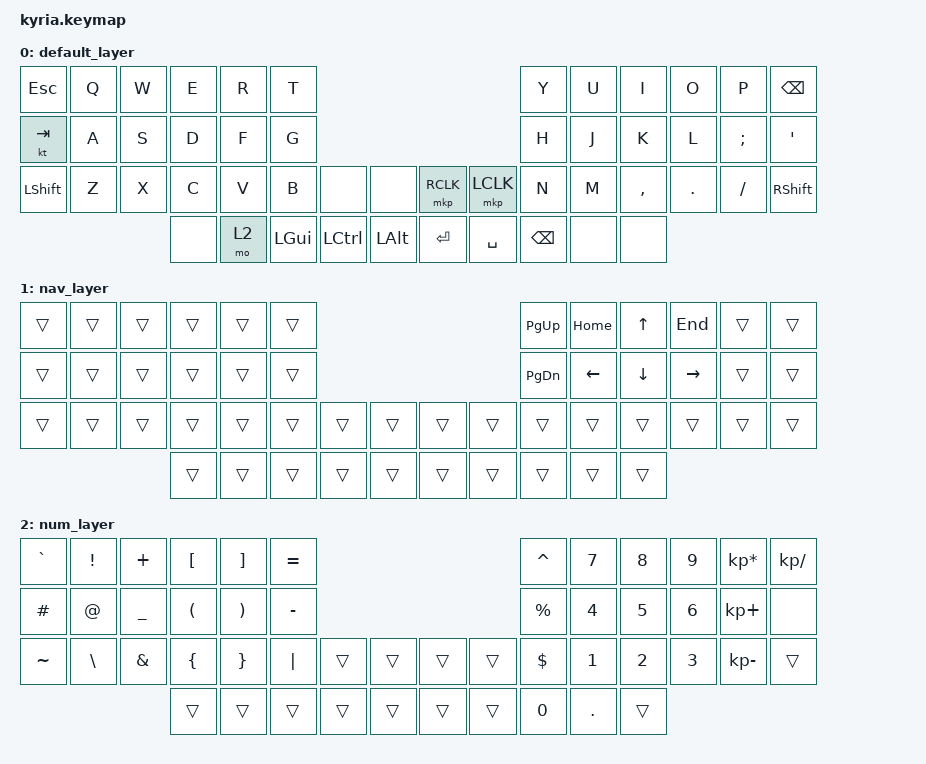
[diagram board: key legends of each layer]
#include <behaviors.dtsi>
#include <dt-bindings/zmk/keys.h>
#include <dt-bindings/zmk/keys.h>

#define BASE 0
#define ENC2 1
#define ENC3 2
#define FNC  3
#define NUM  4
#define NAV  5
#define OSL 6
#define PTAB LC(PG_UP)
#define NTAB LC(PG_DN)
#define NWIN LA(TAB)
#define PWIN LS(LA(TAB))
#define XSLV LA(LC(V))
#define PDESK LC(LG(RIGHT))
#define NDESK LC(LG(LEFT))
#define LR_DOWN LA(DOWN)
#define LR_UP LA(UP)

&left_encoder { resolution = <2>; };

&sk { release-after-ms = <1000>; };

&sl { release-after-ms = <1000>; };

/ {
    behaviors {
        // hm: homerow_mods {
        //   compatible = "zmk,behavior-hold-tap";
        //   label = "HOMEROW_MODS";
        //   #binding-cells = <2>;
        //   tapping_term_ms = <200>;
        //   flavor = "tap-preferred";
        //   bindings = <&kp>, <&cp>;
        // };

        hm: homerow_mods {
            compatible = "zmk,behavior-hold-tap";
            label = "homerow mods";
            #binding-cells = <2>;
            tapping_term_ms = <220>;
            flavor = "balanced";
            bindings = <&kp>, <&kp>;
        };

        mx: layer_tap_osl {
            compatible = "zmk,behavior-hold-tap";
            label = "LAYER_TAP_OSL";
            #binding-cells = <2>;
            flavor = "hold-preferred";
            tapping_term_ms = <200>;
            bindings = <&mo>, <&sl>;
        };
    };

    keymap {
        compatible = "zmk,keymap";

        default_layer {
            // ---------------------------------------------------------------------------------------------------------------------------------
            // |  ESC  |  Q  |  W  |  E   |  R   |  T   |                                          |  Y   |  U    |  I    |  O   |   P   | bksp |
            // | TAB/FN|  A  |  S  |  D   |  F   |  G   |                                          |  H   |  J    |  K    |  L   |   '   |ent/fn|
            // | SHIFT |  Z  |  X  |  C   |  V   |  B   | ---     |  ctrl   |  |   ctrl  |  blank  |  N   |  M    |  ,    |  .   |   /   |shft/;|
            //                     | ENC  |Alt/En| Ctrl |  Nav    |   del   |  |   bksp  |  num    | spc  | Iso   | ENC2  |

            bindings = <
&kp ESC    &kp Q  &kp W  &kp E  &kp R  &kp T                                                               &kp Y          &kp U  &kp I      &kp O    &kp P          &kp BSPC
&kt TAB    &kp A  &kp S  &kp D  &kp F  &kp G                                                               &kp H          &kp J  &kp K      &kp L    &kp SEMICOLON  &kp SQT
&kp LSHFT  &kp Z  &kp X  &kp C  &kp V  &kp B         &none             &none         &mkp RCLK  &mkp LCLK  &kp N          &kp M  &kp COMMA  &kp DOT  &kp FSLH       &kp RIGHT_SHIFT
                         &none  &mo 2  &kp LEFT_GUI  &kp LEFT_CONTROL  &kp LEFT_ALT  &kp RET    &kp SPACE  &kp BACKSPACE  &none  &none
            >;
        };

        nav_layer {
            bindings = <
&trans  &trans  &trans  &trans  &trans  &trans                                  &kp PAGE_UP    &kp HOME        &kp UP_ARROW    &kp END    &trans  &trans
&trans  &trans  &trans  &trans  &trans  &trans                                  &kp PAGE_DOWN  &kp LEFT_ARROW  &kp DOWN_ARROW  &kp RIGHT  &trans  &trans
&trans  &trans  &trans  &trans  &trans  &trans  &trans  &trans  &trans  &trans  &trans         &trans          &trans          &trans     &trans  &trans
                        &trans  &trans  &trans  &trans  &trans  &trans  &trans  &trans         &trans          &trans
            >;
        };

        num_layer {
            // ---------------------------------------------------------------------------------------------------------------------------------
            // | `     |  !  |  +  |  [   |  ]   |  =   |                                          |  %   |  7    |  8    |  9   |   *   | /    |
            // | #     |  @  |  _  |  (   |  )   |  -   |                                          |  $   |  4    |  5    |  6   |   +   | ---  |
            // | ~     |  \  |  &  |  {   |  }   |  |   |   ---   |  ---    |  |   ---   |  ---    |  ^   |  1    |  2    |  3   |   -   | ---  |
            //                     | ENC  | ---  | ---  |   ---   |  ---    |  |   ---   |  ---    | ---  | ---   | ---   |

            bindings = <
&kp GRAVE  &kp EXCL  &kp PLUS   &kp LBKT  &kp RBKT  &kp EQUAL                                  &kp CARET  &kp N7   &kp N8  &kp N9  &kp KP_MULTIPLY  &kp KP_DIVIDE
&kp HASH   &kp AT    &kp UNDER  &kp LPAR  &kp RPAR  &kp MINUS                                  &kp PRCNT  &kp N4   &kp N5  &kp N6  &kp KP_PLUS      &none
&kp TILDE  &kp BSLH  &kp AMPS   &kp LBRC  &kp RBRC  &kp PIPE   &trans  &trans  &trans  &trans  &kp DLLR   &kp N1   &kp N2  &kp N3  &kp KP_MINUS     &trans
                                &trans    &trans    &trans     &trans  &trans  &trans  &trans  &kp N0     &kp DOT  &trans
            >;
        };
    };
};
